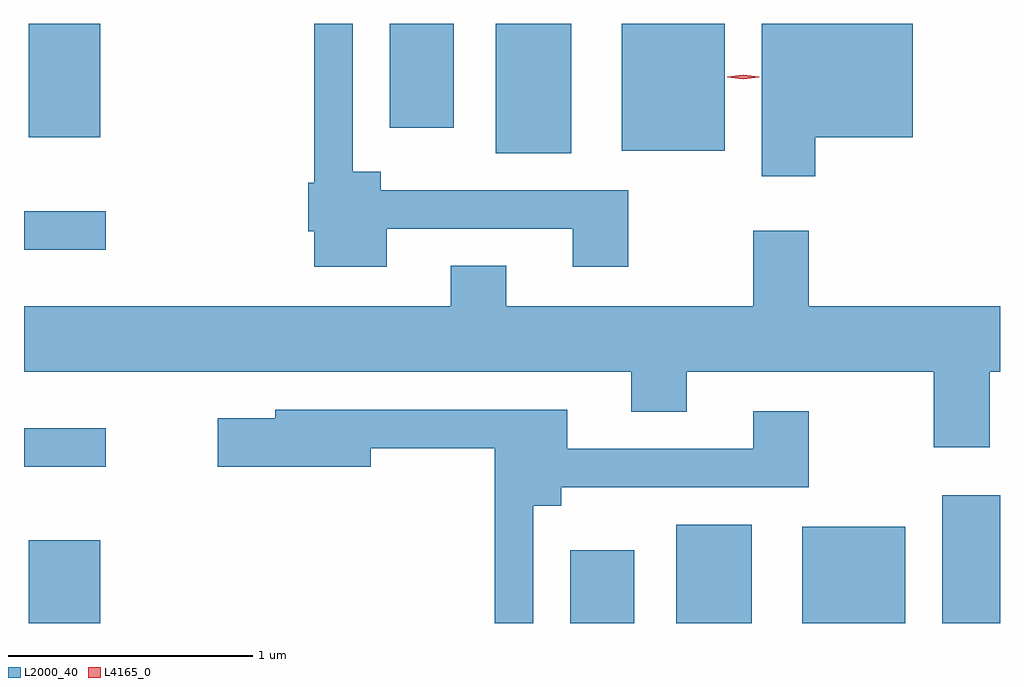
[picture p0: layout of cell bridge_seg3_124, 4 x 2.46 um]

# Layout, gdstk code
import gdstk
lib = gdstk.Library(unit=1e-6, precision=1e-09)
def R(c, l, rs):  # rectangles x0, y0, x1, y1
    for r in rs: c.add(gdstk.rectangle(r[:2], r[2:], *l))
def P(c, l, *ps):  # polygons
    for p in ps: c.add(gdstk.Polygon(p, *l))
L2000_40 = (2000, 40)
L4165_0 = (4165, 0)

bridge_seg3_124 = lib.new_cell('bridge_seg3_124')
R(bridge_seg3_124, L2000_40, [(743.961,1251.524,744.254,1251.864), (746.181,1251.524,746.444,1251.824), (746.616,1251.524,746.924,1251.929), (747.131,1251.524,747.554,1251.919), (747.706,1251.524,747.942,1252.049), (743.942,1252.166,744.278,1252.324), (743.942,1253.056,744.278,1253.214), (745.876,1253.451,746.184,1253.982), (746.391,1253.461,746.814,1253.982), (743.961,1253.516,744.254,1253.982), (745.441,1253.556,745.704,1253.982)])
P(bridge_seg3_124, L2000_40, [(747.184,1253.516),(747.584,1253.516),(747.584,1253.982),(746.966,1253.982),(746.966,1253.356),(747.184,1253.356)],
  [(745.429,1253.141),(746.191,1253.141),(746.191,1252.986),(746.419,1252.986),(746.419,1253.299),(745.404,1253.299),(745.404,1253.374),(745.289,1253.374),(745.289,1253.982),(745.131,1253.982),(745.131,1253.329),(745.106,1253.329),(745.106,1253.131),(745.131,1253.131),(745.131,1252.986),(745.429,1252.986)],
  [(745.919,1252.989),(745.691,1252.989),(745.691,1252.824),(743.942,1252.824),(743.942,1252.556),(746.431,1252.556),(746.431,1252.391),(746.659,1252.391),(746.659,1252.556),(747.671,1252.556),(747.671,1252.246),(747.899,1252.246),(747.899,1252.556),(747.942,1252.556),(747.942,1252.824),(747.159,1252.824),(747.159,1253.134),(746.931,1253.134),(746.931,1252.824),(745.919,1252.824)],
  [(746.029,1252.006),(746.144,1252.006),(746.144,1252.081),(747.159,1252.081),(747.159,1252.394),(746.931,1252.394),(746.931,1252.239),(746.169,1252.239),(746.169,1252.399),(744.971,1252.399),(744.971,1252.364),(744.736,1252.364),(744.736,1252.166),(745.364,1252.166),(745.364,1252.241),(745.871,1252.241),(745.871,1251.524),(746.029,1251.524)])
P(bridge_seg3_124, L4165_0, [(746.89,1253.754),(746.824,1253.763),(746.824,1253.764),(746.824,1253.764),(746.89,1253.773),(746.955,1253.764),(746.956,1253.763),(746.955,1253.763)])

lib.write_gds('bridge_seg3_124.gds')
